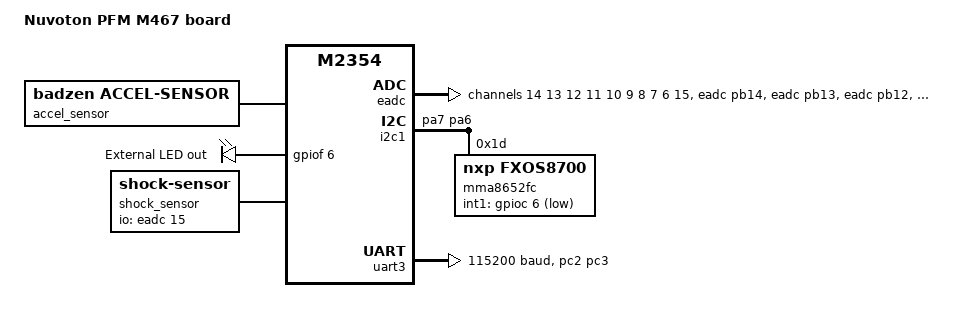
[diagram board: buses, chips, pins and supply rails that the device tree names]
/*
 * Copyright (c) 2023 Nuvoton Technology Corporation.
 *
 * SPDX-License-Identifier: Apache-2.0
 */

/dts-v1/;

#include <nuvoton/m2354.dtsi>
// #include "fxa500_02-pinctrl.dtsi"
#include <zephyr/dt-bindings/input/input-event-codes.h>

/ {
	model = "Nuvoton PFM M467 board";
	compatible = "nuvoton,pfm-m467", "nuvoton,m2354";

	aliases {
		led0 = &out_led;
		// sw0 = &user_button_1;
		// sw1 = &user_button_2;
		// lte = &gsm;
		adc0 = &eadc;

		// analog-inputs = &analog_inputs0;
		// v12v = &v12v;
		// shake-sensor = &shake_sensor;
		accelerometer = &mma8652fc;

		shock-sensor = &shock_sensor;
	};

	chosen {
		zephyr,console = &uart3;
		zephyr,shell-uart = &uart3;
		zephyr,sram = &sram0;
		zephyr,flash = &flash0;
		zephyr,code-partition = &code_partition;
		zephyr,boot-partition = &boot_partition;
		// zephyr,canbus = &canfd0;
	};

	accel_sensor: accel_sensor {
		compatible = "badzen,accel-sensor";
		status = "okay";
        accelerometer = &mma8652fc;
	};

	leds {
		compatible = "gpio-leds";
		// status = "disabled";
		out_led: led_0 {
			gpios = <&gpiof 6 GPIO_ACTIVE_HIGH>;
			label = "External LED out";
		};
	};

	// v12v: v12v {
	// 	compatible = "voltage-divider";
	// 	status = "okay";
	// 	io-channels = <&eadc 6>;
	// 	// Cheat! Multiply by 1000 for millivolts is voltage divider sensor output
	// 	full-ohms = <(20000 + 2000)>;
	// 	output-ohms = <2>;
	// };

	// shake_sensor: shake_sensor {
	// 	compatible = "voltage-divider";
	// 	status = "okay";
	// 	io-channels = <&eadc 15>;
	// 	// Cheat! Multiply by 1000 for millivolts is voltage divider sensor output
	// 	full-ohms = <1000>;
	// 	output-ohms = <1>;
	// };

	shock_sensor: shock_sensor {
		compatible = "zephyr,shock-sensor";
		status = "okay";
		// status = "disabled";
		io-channels = <&eadc 15>;
		sampling-period-ms = <2>;
		// sampling-period-ms = <10>;
	};

	// analog_inputs0: analog-input {
	// 	compatible = "analog-input";
	// 	// poll-period-ms = <32>;
	// 	poll-period-ms = <100>;

	// 	in1 {
	// 		id = <0>;
	// 		io-channels = <&eadc 14>;
	// 		r_top = <1100>;
	// 		r_bottom = <200>;
	// 	};

	// 	in2 {
	// 		id = <1>;
	// 		io-channels = <&eadc 13>;
	// 		r_top = <1100>;
	// 		r_bottom = <200>;
	// 	};

	// 	in3 {
	// 		id = <2>;
	// 		io-channels = <&eadc 12>;
	// 		r_top = <1100>;
	// 		r_bottom = <200>;
	// 	};

	// 	in4 {
	// 		id = <3>;
	// 		io-channels = <&eadc 11>;
	// 		r_top = <1100>;
	// 		r_bottom = <200>;
	// 	};

	// 	in5 {
	// 		id = <4>;
	// 		io-channels = <&eadc 10>;
	// 		r_top = <1100>;
	// 		r_bottom = <200>;
	// 	};

	// 	in6 {
	// 		id = <5>;
	// 		io-channels = <&eadc 9>;
	// 		r_top = <1100>;
	// 		r_bottom = <200>;
	// 	};

	// 	// TODO: Я спеціально поміняв місцями два останніх канали,
	// 	// щоб перевірити чи правильно буде працювати індексація
	// 	in8 {
	// 		id = <7>;
	// 		io-channels = <&eadc 7>;
	// 		r_top = <1100>;
	// 		r_bottom = <200>;
	// 	};

	// 	in7 {
	// 		id = <6>;
	// 		io-channels = <&eadc 8>;
	// 		r_top = <1100>;
	// 		r_bottom = <200>;
	// 	};

	// };
	
	zephyr,user {
		// compatible = "gpio-output";

		// ADC inputs
		// in-1-

		// Digital Inputs
		// in-2-gpios = <&gpiob 13 GPIO_ACTIVE_HIGH>;	// 2. Капот

		// Outputs
		// out-1-gpios = <&gpiob 4 GPIO_ACTIVE_HIGH>;	// 1. Сирена
		// out-2-gpios = <&gpiob 5 GPIO_ACTIVE_HIGH>;	// 2. Аварійка
		// out-3-gpios = <&gpioc 0 GPIO_ACTIVE_HIGH>;	// 3. Закривання ЦЗ
		// out-4-gpios = <&gpiod 3 GPIO_ACTIVE_HIGH>;	// 4. Відкривання ЦЗ
		// out-5-gpios = <&gpiod 1 GPIO_ACTIVE_HIGH>;	// 5. Відкривання багажника
		// out-6-gpios = <&gpioa 15 GPIO_ACTIVE_HIGH>;	// 6. Старт/Стоп
		// out-7-gpios = <&gpiod 2 GPIO_ACTIVE_HIGH>;	// 7. НЗБД
		// out-8-gpios = <&gpioa 14 GPIO_ACTIVE_HIGH>;	// 8. Канал 1

		// io-channels = <&eadc 12>, <&eadc 14>;
		// io-channels = <&eadc 14>;

		// Analog Inputs sorted by channed index
		// adc-channels = <&eadc 14>, <&eadc 13>, <&eadc 12>, <&eadc 11>, <&eadc 10>, <&eadc 9>, <&eadc 8>, <&eadc 7>, <&eadc 6>, <&eadc 15>;
		// io-channels = <&eadc 6>, <&eadc 7>, <&eadc 8>, <&eadc 9>, <&eadc 10>, <&eadc 11>, <&eadc 12>, <&eadc 13>, <&eadc 14>, <&eadc 15>;
		// io-channels = <&eadc 15>;
	};

	// fstab {
	// 	compatible = "zephyr,fstab";
	// 	lfs1: lfs1 {
	// 		compatible = "zephyr,fstab,littlefs";
	// 		read-size = <1>;
	// 		prog-size = <16>;
	// 		cache-size = <256>;
	// 		lookahead-size = <32>;
	// 		block-cycles = <512>;
	// 		partition = <&littlefs_partition>;
	// 		mount-point = "/lfs1";
	// 	};
	// };

	// gpio_keys {
	// 	compatible = "gpio-keys";
	// 	user_button_1: button_1 {
	// 		label = "User SW2";
	// 		gpios = <&gpioh 1 GPIO_ACTIVE_LOW>;
	// 		zephyr,code = <INPUT_KEY_0>;
	// 	};
	// 	user_button_2: button_2 {
	// 		label = "User SW3";
	// 		gpios = <&gpioh 0 GPIO_ACTIVE_LOW>;
	// 		zephyr,code = <INPUT_KEY_1>;
	// 	};
	// };
};

&eadc {
	#address-cells = <1>;
	#size-cells = <0>;
	status = "okay";

	// &eadc_pb14	/* In1. Запалювання */
	channel@14 {
		reg = <14>;
		zephyr,gain = "ADC_GAIN_1";
		zephyr,reference = "ADC_REF_INTERNAL";
		zephyr,acquisition-time = <ADC_ACQ_TIME_DEFAULT>;
		zephyr,resolution = <12>;
		// zephyr,oversampling = <0>;
		zephyr,vref-mv = <3300>;
	};

	// &eadc_pb13	/* In2. Капот */
	channel@13 {
		reg = <13>;
		zephyr,gain = "ADC_GAIN_1";
		zephyr,reference = "ADC_REF_INTERNAL";
		zephyr,acquisition-time = <ADC_ACQ_TIME_DEFAULT>;
		zephyr,resolution = <12>;
		// zephyr,oversampling = <0>;
		zephyr,vref-mv = <3300>;
	};

	// &eadc_pb12	/* In3. PIN */
	channel@12 {
		reg = <12>;
		zephyr,gain = "ADC_GAIN_1";
		zephyr,reference = "ADC_REF_INTERNAL";
		zephyr,acquisition-time = <ADC_ACQ_TIME_DEFAULT>;
		zephyr,resolution = <12>;
		// zephyr,oversampling = <0>;
		zephyr,vref-mv = <3300>;
	};

	// &eadc_pb11	/* In4. Парковка */
	channel@11 {
		reg = <11>;
		zephyr,gain = "ADC_GAIN_1";
		zephyr,reference = "ADC_REF_INTERNAL";
		zephyr,acquisition-time = <ADC_ACQ_TIME_DEFAULT>;
		zephyr,resolution = <12>;
		// zephyr,oversampling = <0>;
		zephyr,vref-mv = <3300>;
	};

	// &eadc_pb10	/* In5. Тормоз */
	channel@10 {
		reg = <10>;
		zephyr,gain = "ADC_GAIN_1";
		zephyr,reference = "ADC_REF_INTERNAL";
		zephyr,acquisition-time = <ADC_ACQ_TIME_DEFAULT>;
		zephyr,resolution = <12>;
		// zephyr,oversampling = <0>;
		zephyr,vref-mv = <3300>;
	};

	// &eadc_pb9	/* In6. Мастило */
	channel@9 {
		reg = <9>;
		zephyr,gain = "ADC_GAIN_1";
		zephyr,reference = "ADC_REF_INTERNAL";
		zephyr,acquisition-time = <ADC_ACQ_TIME_DEFAULT>;
		zephyr,resolution = <12>;
		// zephyr,oversampling = <0>;
		zephyr,vref-mv = <3300>;
	};

	// &eadc_pb8	/* In7. Ручка */
	channel@8 {
		reg = <8>;
		zephyr,gain = "ADC_GAIN_1";
		zephyr,reference = "ADC_REF_INTERNAL";
		zephyr,acquisition-time = <ADC_ACQ_TIME_DEFAULT>;
		zephyr,resolution = <12>;
		// zephyr,oversampling = <0>;
		zephyr,vref-mv = <3300>;
	};

	// &eadc_pb7	/* In8. Дозвіл/Резервне живлення */
	channel@7 {
		reg = <7>;
		zephyr,gain = "ADC_GAIN_1";
		zephyr,reference = "ADC_REF_INTERNAL";
		zephyr,acquisition-time = <ADC_ACQ_TIME_DEFAULT>;
		zephyr,resolution = <12>;
		// zephyr,oversampling = <0>;
		zephyr,vref-mv = <3300>;
	};

	// &eadc_pb6	/* +12V Основне живлення */
	channel@6 {
		reg = <6>;
		zephyr,gain = "ADC_GAIN_1";
		zephyr,reference = "ADC_REF_INTERNAL";
		zephyr,acquisition-time = <ADC_ACQ_TIME_DEFAULT>;
		zephyr,resolution = <12>;
		// zephyr,oversampling = <0>;
		zephyr,vref-mv = <3300>;
	};

	// &eadc_pb15	/* Датчик удару */
	channel@15 {
		reg = <15>;
		zephyr,gain = "ADC_GAIN_1";
		zephyr,reference = "ADC_REF_INTERNAL";
		zephyr,acquisition-time = <ADC_ACQ_TIME_DEFAULT>;
		zephyr,resolution = <12>;
		// zephyr,oversampling = <0>;
		zephyr,vref-mv = <3300>;
	};

	// // 	// vref-internal-mv = <3000>;
	pinctrl-0 = <
		&eadc_pb14	/* In1. Запалювання */
		&eadc_pb13	/* In2. Капот */
		&eadc_pb12	/* In3. PIN */
		&eadc_pb11	/* In4. Парковка */
		&eadc_pb10	/* In5. Тормоз */
		&eadc_pb9	/* In6. Мастило */
		&eadc_pb8	/* In7. Ручка */
		&eadc_pb7	/* In8. Дозвіл/Резервне живлення */
		&eadc_pb6	/* +12V Основне живлення */
		&eadc_pb15	/* Датчик удару */
	>;
	pinctrl-names = "default";

// 	#address-cells = <1>;
// 	#size-cells = <0>;
// 	vref-internal-mv = <3000>;

	// channel@14 {
	// 	reg = <14>;
	// 	zephyr,gain = "ADC_GAIN_1";
	// 	zephyr,reference = "ADC_REF_INTERNAL";
	// 	zephyr,acquisition-time = <ADC_ACQ_TIME_DEFAULT>;
	// 	zephyr,resolution = <12>;
	// 	zephyr,vref-mv = <3000>;
	// 	// label = "In1. Запалювання";

	// };
};

// &spi2 {
// 	status = "okay";
// 	pinctrl-0 = <&spi2_pa9_pa8_pa10>;
// 	pinctrl-names = "default";
// 	cs-gpios = <&gpioa 11 GPIO_ACTIVE_LOW>;

// 	spi2_flash: w25q128@0 {
// 		// compatible = "winbond,w25q128";
// 		compatible = "jedec,spi-nor";
// 		size = <(16*1024*1024)>;
// 		reg = <0>;
// 		spi-max-frequency = <1000000>;
// 		// clk-frequency = <25000000>;
// 		jedec-id = [ef 40 18];		// W25Q128JV-IN/IQ/JQ = 0xEF 40 18
// 									// W25Q128JV-IM*/JM* = 0xEF 70 18
// 		status = "okay";

// 		partitions {
// 			compatible = "fixed-partitions";
// 			#address-cells = <1>;
// 			#size-cells = <1>;

// 			/* This is the littlefs v1 file system pre-installed
// 		 	* by Particle.
// 		 	*/
// 			littlefs_partition: partition@0 {
// 				label = "littlefs";
// 				reg = <0x00000000 DT_SIZE_M(8)>;	// Eah! Half of entire memory.
// 			};

// 			/* 1MB partition to use for raw data storage. */
// 			storage_partition: partition@800000 {
// 				label = "storage";
// 				reg = <DT_SIZE_M(8) DT_SIZE_M(1)>;			
// 			};

// 			/* 7MB partition for GPS-buffer data. */
// 			gps_partition: partition@900000 {
// 				label = "gps";
// 				reg = <DT_SIZE_M(8) DT_SIZE_M(7)>;
// 			};


// 		};
// 	};
// };

&i2c1 {
 	status = "okay";
 	pinctrl-0 = <&i2c1_pa7_pa6>;
 	pinctrl-names = "default";

 	// Int on PC6/INT2
 	mma8652fc: mma8652fc@1d {
 		compatible = "nxp,fxos8700","nxp,mma8652fc";
 		reg = <0x1d>;
 		int1-gpios = <&gpioc 6 (GPIO_ACTIVE_LOW | GPIO_PULL_UP)>;
 		// interrupt-parent = <&gpioc>;
 		// interrupts = <6 IRQ_TYPE_EDGE_FALLING>;
 	};
 };

// // &scc {
// // 	/* For USB 1.1 Host/Device/OTG, configure to 192MHz, which can generate necessary 48MHz. */
// // 	/* For USB 2.0 Host/Device/OTG or no USB application, comment out to use default. */
// // 	// core-clock = <192000000>;
// // 	core-clock = <4000000>;
// // };

&gpioa {
	status = "okay";
};

&gpiob {
	status = "okay";
};

&gpioc {
	status = "okay";
};

&gpiod {
	status = "okay";
};

&gpiof {
	status = "okay";
};

&flash0 {
	partitions {
		compatible = "fixed-partitions";
		#address-cells = <1>;
		#size-cells = <1>;

		// bootloader: partition@0 {
		// 	label = "mcuboot";
		// 	reg = <0x00000000 0x00020000>;
		// 	read-only;
		// };

		// boot_partition: partition@100000 {
		// 	label = "mcuboot";
		// 	reg = <0x00100000 DT_SIZE_K(16)>;
		// };

		code_partition: partition@0 {
			label = "image-0";
			reg = <0x00000000 DT_SIZE_K(512)>;
		};

		// Значення налаштувань. Змінюються тільки при налаштуванні системи
		// Дві сторінки для запобігання втрати даних
		storage_partition_tpf: partition@80000 {
			label = "storage_tpf";
			reg = <0x80000 DT_SIZE_K(16)>;
		};

		// Збереження стану системи. Змінюється при будь-якій зміні стану системи.
		// Проводиться відкадений запис за для підвищення строку служби пам'яті.
		// Запис ведеться послідовно у три сторінки.
		// Використовуються Zephyr Memory Storage (ZMS)
		// https://docs.zephyrproject.org/latest/services/storage/zms/zms.html
		storage_partition_nvs: partition@84000 {
			label = "storage_nvs";
			reg = <0x84000 DT_SIZE_K(16)>;
		};

		// Список користувачів, та всяка інша інформація, яка рідко змінюється.
		storage_partition_nvs2: partition@88000 {
			label = "storage_partition_nvs2";
			reg = <0x88000 DT_SIZE_K(64)>;
		};

		// Збереження ключів.
		storage_partition_pc_public_key: partition@98000 {
			label = "storage_pc_public_key";
			reg = <0x98000 DT_SIZE_K(16)>;
		};

		// Нерозподілена область.
		storage_partition_unused: partition@9C000 {
			label = "storage_partition_unused";
			reg = <0x9C000 DT_SIZE_K(352)>;
		};
		
		// Останні 48 кілобайти для загрузчика (треба впевнитись шо не перекривається з іншими розділами!)
		boot_partition: partition@F4000 {
			label = "bootloader";
			reg = <(DT_SIZE_K(1024) - DT_SIZE_K(48)) DT_SIZE_K(48)>;
		};
	};
};

&uart3 {
	current-speed = <115200>;
	pinctrl-0 = <&uart3_pc2_pc3>;
	pinctrl-names = "default";
	status = "okay";
};

// &uart5 {
// 	current-speed = <115200>;
// 	pinctrl-0 = <&uart5_pa4_pa5>;
// 	pinctrl-names = "default";
// 	status = "okay";

// 	gsm: gsm-modem {
// 		compatible = "simcom,a7682e";
// 		label = "SIMCOM A7682E";

// 		/*status-gpios = <&portb 12 GPIO_ACTIVE_LOW>; */

// 		status-gpios = <&gpioc 7 GPIO_ACTIVE_HIGH>;
// 		dtr-gpios = <&gpioa 2 GPIO_ACTIVE_HIGH>;
// 		pwrkey-gpios = <&gpiof 4 GPIO_ACTIVE_HIGH>;
// 		power-gpios = <&gpioa 3 GPIO_ACTIVE_HIGH>;
// 	};

// };

// &canfd0 {
// 	bus-speed = <125000>;
// 	bus-speed-data = <1000000>;
// 	pinctrl-0 = <&canfd0_default>;
// 	pinctrl-names = "default";
// 	status = "okay";
// };

// &emac {
// 	pinctrl-0 = <&emac_default>;
// 	pinctrl-names = "default";
// 	status = "okay";
// };
